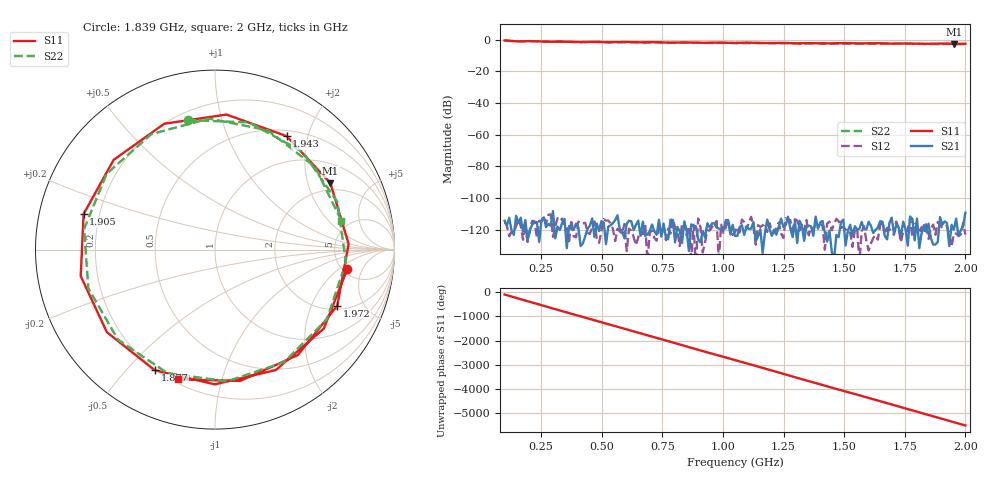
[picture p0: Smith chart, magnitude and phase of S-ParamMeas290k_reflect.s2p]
!Keysight Technologies,N5242B,MY48420967,A.15.65.19
!Date: Saturday, December 17, 2022 04:17:20
!Correction: S11(C  2-Port  )
!S21(C  2-Port  )
!S12(C  2-Port  )
!S22(C  2-Port  )
!S2P File: Measurements: S11, S21, S12, S22:
# Hz S  dB  R 50
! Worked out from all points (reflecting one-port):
!   201 points, 100 MHz to 2 GHz, reference 50 ohm
!   lowest |S11| = -2.6 dB at 1.952 GHz (marker M1), VSWR 6.75, Z = 85.1 + j140 ohm
!   phase of S11 starts at -102 deg and turns -5404 deg over the sweep
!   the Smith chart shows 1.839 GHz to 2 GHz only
!   S11 on the Smith chart (normalised r, x): 1.839 GHz: 5.47, -2.70; 1.877 GHz: 0.19, -0.60; 1.905 GHz: 0.14, +0.13; 1.943 GHz: 0.58, +1.66; 1.972 GHz: 2.20, -3.14; 2 GHz: 0.22, -0.73
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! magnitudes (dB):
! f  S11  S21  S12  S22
! 100 MHz  -0.4  -114.4  -115.1  -0.4
! 157 MHz  -1.0  -115.7  -113.4  -1.0
! 214 MHz  -0.8  -116.7  -114.3  -0.8
! 290 MHz  -1.3  -117.5  -110.2  -1.3
! 347 MHz  -1.1  -113.2  -117.5  -1.2
! 423 MHz  -1.4  -128.6  -116.0  -1.5
! 736.5 MHz  -1.6  -113.7  -118.3  -1.7
! 784 MHz  -1.8  -113.6  -122.5  -1.9
! 841 MHz  -1.7  -114.8  -115.3  -1.8
! 1.05 GHz  -2.0  -124.0  -121.5  -2.1
! 1.107 GHz  -1.8  -119.5  -115.5  -2.0
! 1.164 GHz  -2.1  -134.8  -117.3  -2.1
! 1.373 GHz  -2.1  -123.8  -119.8  -2.3
! 1.639 GHz  -2.1  -118.8  -126.3  -2.5
! 1.687 GHz  -2.4  -116.0  -119.5  -2.5
! 1.839 GHz  -2.6  -121.3  -115.6  -2.6
! 1.877 GHz  -2.5  -129.4  -123.2  -2.7
! 1.905 GHz  -2.4  -116.9  -118.8  -2.6
! 1.943 GHz  -2.5  -116.9  -130.7  -2.6
! 1.952 GHz  -2.6  -120.1  -122.4  -2.7
! 1.972 GHz  -2.5  -124.1  -123.9  -2.7
! 2 GHz  -2.5  -109.3  -123.1  -2.8
